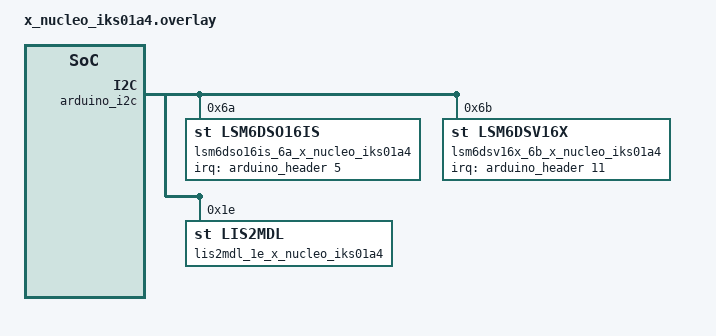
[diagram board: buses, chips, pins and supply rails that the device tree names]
/*
 * Copyright (c) 2023 STMicroelectronics
 *
 * SPDX-License-Identifier: Apache-2.0
 */

/ {
	aliases {
		magn0 = &lis2mdl_1e_x_nucleo_iks01a4;
		accel0 = &lsm6dso16is_6a_x_nucleo_iks01a4;
		accel1 = &lsm6dsv16x_6b_x_nucleo_iks01a4;
	};
};

&arduino_i2c {

	lsm6dso16is_6a_x_nucleo_iks01a4: lsm6dso16is@6a {
		compatible = "st,lsm6dso16is";
		reg = <0x6a>;
		accel-odr = <0x1b>;
		gyro-odr = <0x11>;
		irq-gpios =  <&arduino_header 5 GPIO_ACTIVE_HIGH>; /* A5 */
		//irq-gpios =  <&arduino_header 13 GPIO_ACTIVE_HIGH>; /* D7 */
		drdy-pin = <1>;
		//drdy-pin = <2>;
	};

	lsm6dsv16x_6b_x_nucleo_iks01a4: lsm6dsv16x@6b {
		compatible = "st,lsm6dsv16x";
		reg = <0x6b>;
		accel-odr = <0x02>;
		gyro-odr = <0x02>;
		irq-gpios =  <&arduino_header 11 GPIO_ACTIVE_HIGH>; /* D5 */
		//irq-gpios =  <&arduino_header 10 GPIO_ACTIVE_HIGH>; /* D4 */
		drdy-pin = <1>;
		//drdy-pin = <2>;
	};

	lis2mdl_1e_x_nucleo_iks01a4: lis2mdl@1e {
		compatible = "st,lis2mdl";
		reg = <0x1e>;
		//irq-gpios =  <&arduino_header 2 GPIO_ACTIVE_HIGH>; /* A2 */
	};

};
